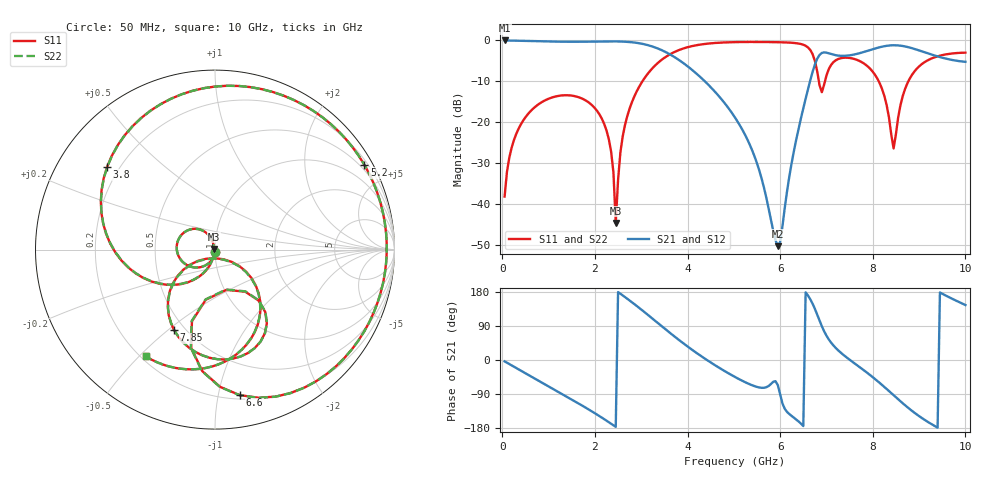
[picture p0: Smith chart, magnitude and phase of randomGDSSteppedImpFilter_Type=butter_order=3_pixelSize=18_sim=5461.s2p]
! freq	dB(S11)	phase(S11)	dB(S12)	phase(S12)
!  dB(S21)	phase(S21)	dB(S22)	phase(S22)
!S-par simulation data
#  GHz  S  DB  R 50
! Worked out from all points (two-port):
!   200 points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, 50 MHz to 10 GHz, reference 50 ohm
!   highest |S21| = -0.01 dB at 50 MHz (marker M1); lowest = -50.3 dB at 5.95 GHz (marker M2)
!   |S21| within 3 dB of the highest: start of sweep to 3.556 GHz; 7.751 GHz to 9.149 GHz (1.398 GHz wide, 16.5 % of centre) (the widest 2 of 3)
!   lowest |S11| = -44.6 dB at 2.45 GHz (marker M3), VSWR 1.01, Z = 49.5 + j0.274 ohm
!   |S11| at or under -10 dB: start of sweep to 3.026 GHz; 6.836 GHz to 6.967 GHz (131.2 MHz wide, 1.9 % of centre); 8.129 GHz to 8.768 GHz (639.1 MHz wide, 7.56 % of centre)
!   |S22| runs from -43.6 to -0.4 dB; largest |S21 - S12| = 0
!   S11 on the Smith chart (normalised r, x): 50 MHz: 1.00, -0.02; 3.8 GHz: 0.15, +0.33; 5.2 GHz: 0.33, +3.76; 6.6 GHz: 0.23, -1.16; 7.85 GHz: 0.44, -0.52; 10 GHz: 0.22, -0.52
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0.05  -38.14 -92.8  -0.01 -3.6  -0.01 -3.6  -38.13 -92.8
0.2  -26.27 -103.9  -0.03 -14.1  -0.03 -14.1  -26.27 -103.9
0.55  -18.05 -128.9  -0.12 -38.5  -0.12 -38.5  -18.05 -128.9
1.75  -14.35 147.7  -0.32 -122.0  -0.32 -122.0  -14.35 147.8
2.3  -24.12 108.7  -0.23 -164.1  -0.23 -164.1  -24.11 109.3
2.45  -44.57 152.1  -0.24 -176.5  -0.24 -176.5  -43.58 155.5
2.55  -27.37 -103.0  -0.26 174.9  -0.26 174.9  -27.35 -104.3
2.7  -18.44 -112.2  -0.35 161.6  -0.35 161.6  -18.43 -112.8
3.4  -5.11 -178.4  -2.16 93.5  -2.16 93.5  -5.11 -178.6
3.8  -2.42 142.6  -4.67 54.2  -4.67 54.2  -2.42 142.4
4.4  -0.83 89.7  -10.28 1.5  -10.28 1.5  -0.83 89.5
5.05  -0.41 40.2  -19.27 -46.5  -19.27 -46.5  -0.41 40.1
5.2  -0.38 29.6  -22.15 -55.9  -22.15 -55.9  -0.38 29.5
5.95  -0.43 -21.6  -50.27 -66.5  -50.27 -66.5  -0.43 -21.7
6.6  -1.70 -80.3  -11.95 170.1  -11.95 170.1  -1.70 -80.5
6.7  -3.33 -95.9  -7.71 148.6  -7.71 148.6  -3.34 -96.1
6.95  -10.77 -54.2  -2.92 75.8  -2.92 75.8  -10.82 -54.0
7.85  -5.97 -117.0  -2.67 -31.0  -2.67 -31.0  -5.97 -116.8
8.35  -18.84 -146.6  -1.24 -82.0  -1.24 -82.0  -18.78 -145.7
8.45  -26.38 -90.3  -1.18 -92.9  -1.18 -92.9  -26.03 -90.4
9  -6.35 -60.4  -2.44 -148.1  -2.44 -148.1  -6.35 -60.6
10  -2.99 -122.8  -5.22 145.1  -5.22 145.1  -2.99 -122.9
